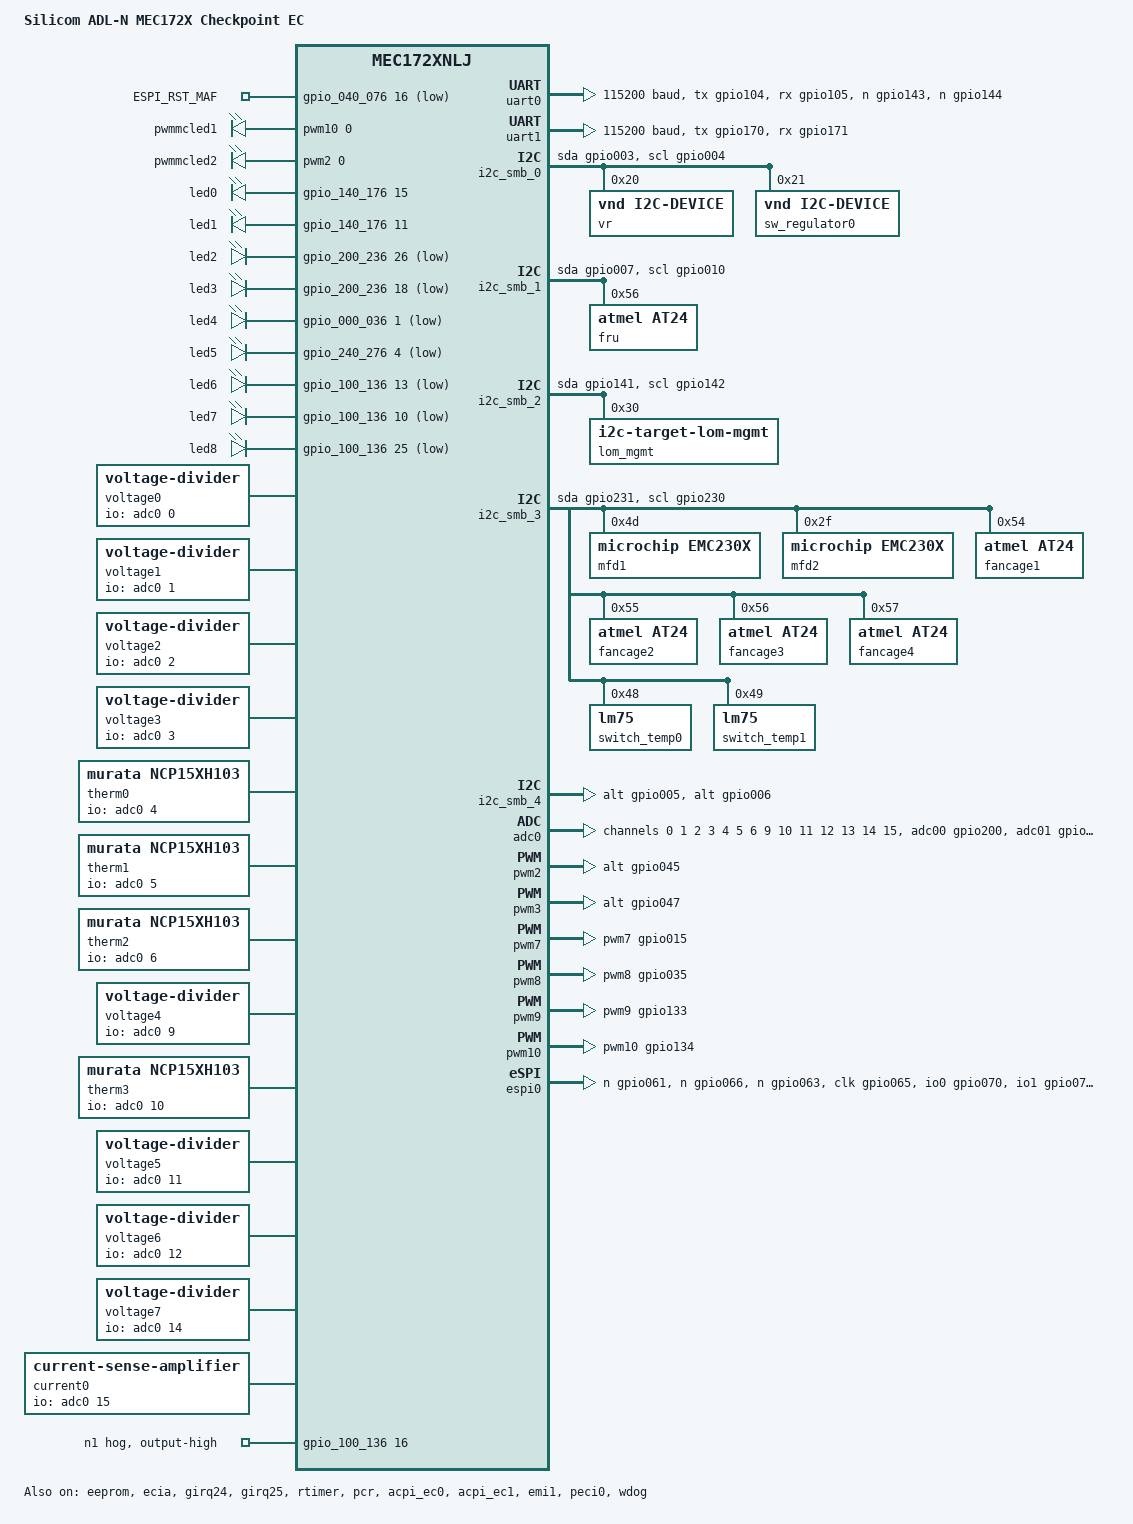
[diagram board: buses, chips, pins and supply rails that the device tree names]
/*
 * Copyright (c) 2025, Silicom Connectivity Solutions
 *
 * SPDX-License-Identifier: Apache-2.0
 */

/dts-v1/;

#include <microchip/mec172xnlj.dtsi>
#include <microchip/mec172x/mec172xnsz-pinctrl.dtsi>
#include <microchip/mec172x/mec172xnlj-pinctrl.dtsi>
#include <zephyr/dt-bindings/pwm/pwm.h>
#include <zephyr/dt-bindings/led/led.h>

/ {
	model = "Silicom ADL-N MEC172X Checkpoint EC";
	compatible = "microchip,mec172x_adl_n_cp", "microchip,mec172xnlj";

	chosen {
		zephyr,sram = &sram0;
		zephyr,flash = &flash0;
		zephyr,console = &uart1;
	};

	aliases {
		i2c0 = &i2c_smb_0;
		i2c-0 = &i2c_smb_0;
		i2c3 = &i2c_smb_1;
		i2c11 = &i2c_smb_2;
		peci-0 = &peci0;
		led0 = &pwmmcled1;
		led1 = &pwmmcled2;
		eeprom0 = &eeprom;
		fan0 = &fan1_1;
		fan1 = &fan1_2;
		fan2 = &fan1_3;
		fan3 = &fan1_4;
		fan4 = &fan2_1;
		fan5 = &fan2_2;
		fan6 = &fan2_3;
		fan7 = &fan2_4;
		gpioled0 = &amber_mid;
		gpioled1 = &amber_bot;
		gpioled2 = &pwr_led_green;
		gpioled3 = &front_location;
	};

	gpio_keys {
		compatible = "gpio-keys";

		/* make a DT entry for the ESPI_RESET# input */
		espi_rst_maf: espi-rst {
			gpios = <&gpio_040_076 16 GPIO_ACTIVE_LOW>;
			label = "ESPI_RST_MAF";
		};
	};

	pwm_mc_leds: pwm_mc_leds {
		compatible = "pwm-leds-multicolor";

		pwmmcled1: pwmmcled-1 {
			pwms = <&pwm10 0 PWM_MSEC(5) PWM_POLARITY_INVERTED>,
		       	       <&pwm7  0 PWM_MSEC(5) PWM_POLARITY_INVERTED>,
		       	       <&pwm8  0 PWM_MSEC(5) PWM_POLARITY_INVERTED>;

			color-mapping = <LED_COLOR_ID_RED>,
					<LED_COLOR_ID_GREEN>,
					<LED_COLOR_ID_BLUE>;
		};
		pwmmcled2: pwmmcled-2 {
			pwms = <&pwm2 0 PWM_MSEC(5) PWM_POLARITY_INVERTED>,
			       <&pwm9 0 PWM_MSEC(5) PWM_POLARITY_INVERTED>,
			       <&pwm3 0 PWM_MSEC(5) PWM_POLARITY_INVERTED>;

			color-mapping = <LED_COLOR_ID_RED>,
					<LED_COLOR_ID_GREEN>,
					<LED_COLOR_ID_BLUE>;
		};
	};

	amber_mid: led_0 {
		compatible = "gpio-leds";
		/* GPIO 157 */
		led0 {
			gpios = <&gpio_140_176 15 GPIO_ACTIVE_HIGH>;
		};
	};
	amber_bot: led_1 {
		compatible = "gpio-leds";
		/* GPIO 153 */
		led1 {
			gpios = <&gpio_140_176 11 GPIO_ACTIVE_HIGH>;
		};
	};
	fan1led: led_2 {
		compatible = "gpio-leds";
		/* GPIO 232 */
		led2 {
			gpios = <&gpio_200_236 26 GPIO_ACTIVE_LOW>;
		};
	};
	fan2led: led_3 {
		compatible = "gpio-leds";
		/* GPIO 222 */
		led3 {	
			gpios = <&gpio_200_236 18 GPIO_ACTIVE_LOW>;
		};
	};
	fan3led: led_4 {
		compatible = "gpio-leds";
		/* GPIO 1 */
		led4 {
			gpios = <&gpio_000_036 1 GPIO_ACTIVE_LOW>;
		};
	};
	fan4led: led_5 {
		compatible = "gpio-leds";
		/* GPIO 244 */
		led5 {
			gpios = <&gpio_240_276 4 GPIO_ACTIVE_LOW>;
		};
	};
	pwr_led_green: led_6 {
		compatible = "gpio-leds";
		/* GPIO 115 */
		led6 {
			gpios = <&gpio_100_136 13 GPIO_ACTIVE_LOW>;
		};
	};
	fan_fail: led_7 {
		compatible = "gpio-leds";
		/* GPIO 112 */
		led7 {
			gpios = <&gpio_100_136 10 GPIO_ACTIVE_LOW>;
		};
	};
	front_location: led_8 {
		compatible = "gpio-leds";
		/* GPIO 131 */
		led8: front_location {
			gpios = <&gpio_100_136 25 GPIO_ACTIVE_LOW>;
		};
	};
//	alert: led_9 {
//		compatible = "gpio-leds";
//		/* GPIO 174 */
//		led9: alert {
//			gpios = <&gpio_140_176 28 GPIO_ACTIVE_LOW>;
//		};
//	};

	voltage0: voltage12v {
		compatible = "voltage-divider";
		status = "okay";
		io-channels = <&adc0 0>;
		io-channel-names = "12V";
		output-ohms = <3300>;
		full-ohms = <(10000+3300)>; 
	};
	voltage1: voltage5v {
		compatible = "voltage-divider";
		status = "okay";
		io-channels = <&adc0 1>;
		io-channel-names = "5V";
		output-ohms = <10000>;
		full-ohms = <(10000+10000)>;
	};
	voltage2: voltage3v3alwon {
		compatible = "voltage-divider";
		status = "okay";
		io-channels = <&adc0 2>;
		io-channel-names = "3.3VAlwaysOn";
		output-ohms = <1>;
		full-ohms = <1>;
	};
	voltage3: voltage1v8alwon {
		compatible = "voltage-divider";
		status = "okay";
		io-channels = <&adc0 3>;
		io-channel-names = "1.8VAlwaysOn";
		output-ohms = <1>;
		full-ohms = <1>;
	};
	therm0: thermistor-0 {
		compatible = "murata,ncp15xh103";
		io-channels = <&adc0 4>;
		pullup-uv = <3300000>;
		pullup-ohm = <3300>;
		pulldown-ohm = <0>;
		friendly-name = "Ambient";
	};
	therm1: thermistor-1 {
		compatible = "murata,ncp15xh103";
		io-channels = <&adc0 5>;
		pullup-uv = <3300000>;
		pullup-ohm = <3300>;
		pulldown-ohm = <0>;
		friendly-name = "Core VR";
	};
	therm2: thermistor-2 {
		compatible = "murata,ncp15xh103";
		io-channels = <&adc0 6>;
		pullup-uv = <3300000>;
		pullup-ohm = <3300>;
		pulldown-ohm = <0>;
		friendly-name = "DDR";
	};
	voltage4: voltage1v8 {
		compatible = "voltage-divider";
		status = "okay";
		io-channels = <&adc0 9>;
		io-channel-names = "1.8V";
		output-ohms = <1>;
		full-ohms = <1>;
	};
	therm3: thermistor-3 {
		compatible = "murata,ncp15xh103";
		io-channels = <&adc0 10>;
		pullup-uv = <3300000>;
		pullup-ohm = <3300>;
		pulldown-ohm = <0>;
		friendly-name = "CPU";
	};
	voltage5: voltagevccinaux {
		compatible = "voltage-divider";
		status = "okay";
		io-channels = <&adc0 11>;
		io-channel-names = "VCCinAux";
		output-ohms = <1>;
		full-ohms = <1>;
	};
	voltage6: voltage1v064vdd2 {
		compatible = "voltage-divider";
		status = "okay";
		io-channels = <&adc0 12>;
		io-channel-names = "1.06V_VDD2";
		output-ohms = <1>;
		full-ohms = <1>;
	};
	voltage7: voltage0vttsodimm {
		compatible = "voltage-divider";
		status = "okay";
		io-channels = <&adc0 14>;
		io-channel-names = "VTT_SODIMM";
		output-ohms = <1>;
		full-ohms = <1>;
	};
	current0: voutpwrmon {
		compatible = "current-sense-amplifier";
		status = "okay";
		io-channels = <&adc0 15>;
		io-channel-names = "VOUT_PWRMON";
		sense-resistor-micro-ohms = <3>;
		sense-gain-mult = <50>;
	};

	smbus1: smbus1 {
		compatible = "microchip,xec-smbus";
		i2c = <&i2c_smb_3>;
		#address-cells = <1>;
		#size-cells = <0>;

		mfd3: mpq8788@31 {
			compatible = "mps,mpq8785";
			reg = <0x31>;

			mfd3_vin: mpq8788_31vin {
				compatible = "mps,mpq8785-vin";
				page = <0>;
				coefficients = <4 0 1>;
			};
			mfd3_vout: mpq8788_31vout {
				compatible = "mps,mpq8785-vout";
				page = <0>;
				coefficients = <512 0 0>;
			};
			mfd3_iout: mpq8788_31iout {
				compatible = "mps,mpq8785-iout";
				page = <0>;
				coefficients = <16 0 0>;
			};
			mfd3_temp: mpq8788_31temp {
				compatible = "mps,mpq8785-temp";
				page = <0>;
				coefficients = <1 0 0>;
			};
		};
		mfd4: mpq8788@32 {
			compatible = "mps,mpq8785";
			reg = <0x32>;

			mfd4_vin: mpq8788_32vin {
				compatible = "mps,mpq8785-vin";
				page = <0>;
				coefficients = <4 0 1>;
			};
			mfd4_vout: mpq8788_32vout {
				compatible = "mps,mpq8785-vout";
				page = <0>;
				coefficients = <512 0 0>;
			};
			mfd4_iout: mpq8788_32iout {
				compatible = "mps,mpq8785-iout";
				page = <0>;
				coefficients = <16 0 0>;
			};
			mfd4_temp: mpq8788_32temp {
				compatible = "mps,mpq8785-temp";
				page = <0>;
				coefficients = <1 0 0>;
			};
		};
		mfd5: mpq8790@30 {
			compatible = "mps,mpq8785";
			reg = <0x30>;

			mfd5_vin: mpq8790vin {
				compatible = "mps,mpq8785-vin";
				page = <0>;
				coefficients = <4 0 1>;
			};
			mfd5_vout: mpq8790vout {
				compatible = "mps,mpq8785-vout";
				page = <0>;
				coefficients = <512 0 0>;
			};
			mfd5_iout: mpq8790iout {
				compatible = "mps,mpq8785-iout";
				page = <0>;
				coefficients = <16 0 0>;
			};
			mfd5_temp: mpq8790temp {
				compatible = "mps,mpq8785-temp";
				page = <0>;
				coefficients = <1 0 0>;
			};
		};
		mfd6: crps@58 {
			compatible = "ocp,crps";
			reg = <0x58>;

			mfd6_temp_amb: crps58ambient {
				compatible = "ocp,crps-temp";
				page = <0>;
				temp-reg = <141>;
			};
			mfd6_temp_hot: crps58hot {
				compatible = "ocp,crps-temp";
				page = <0>;
				temp-reg = <142>;
			};
			mfd6_iout: crps58iout {
				compatible = "ocp,crps-iout";
				page = <0>;
			};
		};
		mfd7: mp2928@20 {
			compatible = "mps,mp2928";
			reg = <0x20>;

			mfd7_temp: mps2928_temp {
				compatible = "mps,mp2928-temp";
				page = <0>;
			};
			mfd7_vout: mps2928_vout_r0 {
				compatible = "mps,mp2928-vout";
				page = <0>;
			};
			mfd8_vout: mps2928_vout_r1 {
				compatible = "mps,mp2928-vout";
				page = <1>;
			};
			mfd9_vout: mps2928_vout_r2 {
				compatible = "mps,mp2928-vout";
				page = <2>;
			};
		};
		mfd8: crps@59 {
			compatible = "ocp,crps";
			reg = <0x59>;

			mfd8_temp_amb: crps59ambient {
				compatible = "ocp,crps-temp";
				page = <0>;
				temp-reg = <141>;
			};
			mfd8_temp_hot: crps59hot {
				compatible = "ocp,crps-temp";
				page = <0>;
				temp-reg = <142>;
			};
			mfd8_iout: crps59iout {
				compatible = "ocp,crps-iout";
				page = <0>;
			};
		};
	};

	zephyr,user {
//		signal-gpios = <&gpio_100_136 1 GPIO_ACTIVE_LOW>;
		pinctrl-0 = <&gpio101 &gpio102 &gpio172 &gpio173 &gpio_uc_2>;
		pinctrl-names = "default";
	};
};

&gpio_100_136 {
	n1 {
		gpio-hog;
		gpios = <16 GPIO_ACTIVE_HIGH>;
		output-high;
	};
};
//&gpio_140_176 {
//	pinctrl-0 = <&gpio174>;
//	pinctrl-names = "default";
//	
//	hogs {
//		gpio-hog;
//		gpios = <28 GPIO_ACTIVE_HIGH>;
//		output-low;
//	};
//		
//};

//&bbled0 {
//	compatible = "microchip,xec-bbled";
//	status = "okay";
//	pinctrl-0 = <&led0_gpio156>;
//	pinctrl-names = "default";
//};

//&bbled1 {
//	compatible = "microchip,xec-bbled";
//	status = "okay";
//	pinctrl-0 = <&led1_gpio157>;
//	pinctrl-names = "default";
//};

//&bbled2 {
//	compatible = "microchip,xec-bbled";
//	status = "okay";
//	pinctrl-0 = <&led2_gpio153>;
//	pinctrl-names = "default";
//};

&cpu0 {
	clock-frequency = <96000000>;
	status = "okay";
};

&uart0 {
	status = "okay";
	current-speed = <115200>;
	pinctrl-0 = <&uart0_tx_gpio104 &uart0_rx_gpio105
		     &uart0_cts_n_gpio143 &uart0_rts_n_gpio144>;
	pinctrl-names = "default";
};

&uart1 {
	status = "okay";
	current-speed = <115200>;
	pinctrl-0 = <&uart1_tx_gpio170 &uart1_rx_gpio171>;
	pinctrl-names = "default";
};

&eeprom {
	status = "okay";

	pinctrl-0 = <&eeprom_cs_gpio116
		     &eeprom_clk_gpio117
		     &eeprom_mosi_gpio074
		     &eeprom_miso_gpio075>;
	pinctrl-names = "default";
};

&i2c_smb_0 {
	status = "okay";
	port_sel = <0>;

	pinctrl-0 = <&i2c00_sda_gpio003
		     &i2c00_scl_gpio004>;
	pinctrl-names = "default";

	vr: vr@20 {
		compatible = "vnd,i2c-device";
		status = "okay";
		reg = <0x20>;
	};

	sw_regulator0: swr@21 {
		compatible = "vnd,i2c-device";
		status = "okay";
		reg = <0x21>;
	};

};

&i2c_smb_1 {
	status = "okay";
	port_sel = <3>;

	pinctrl-0 = <&i2c03_sda_gpio007
                     &i2c03_scl_gpio010>;
	pinctrl-names = "default";

	fru: dev@56 {
		compatible = "atmel,at24";
		status = "okay";
		reg = <0x56>;
		size = <512>;
		address-width = <8>;
		timeout = <25>;
		pagesize = <16>;
	};

	spd: dev@54 {
		compatible = "atmel,at24";
		status = "disabled";
		reg = <0x54>;
		size = <256>;
		address-width = <8>;
		timeout = <25>;
		pagesize = <16>;
	};
};

&i2c_smb_2 {
	status = "ok";
	port_sel = <5>;
	
	pinctrl-0 = <&i2c05_sda_gpio141 &i2c05_scl_gpio142>;
	pinctrl-names = "default";

	lom_mgmt: lom_mgmt@30 {
		compatible = "i2c-target-lom-mgmt";
		status = "okay";
		reg = <0x30>;
		//size = <2048>;
	};
};

&i2c_smb_3 {
	status = "okay";
	port_sel = <8>;

	pinctrl-0 = <&i2c08_sda_gpio231 &i2c08_scl_gpio230>;
	pinctrl-names = "default";

	mfd1: dev@4d {
		compatible = "microchip,emc230x";
		status = "okay";
		reg = <0x4d>;

		fanctrl1: fancontroller {
			compatible = "microchip,emc230x-pwm";
			status = "okay";
			#pwm-cells = <2>;

			fan1_1: FAN1 {
				status = "okay";
				pwms = <&fanctrl1 0 26000>;
				tach = <&fan_speed1>;
				edges = <5>;
				initial = <50>;
			};
			fan1_2: FAN2 {
				status = "okay";
				pwms = <&fanctrl1 1 26000>;
				tach = <&fan_speed2>;
				edges = <5>;
				initial = <50>;
			};
			fan1_3: FAN3 {
				status = "okay";
				pwms = <&fanctrl1 2 26000>;
				tach = <&fan_speed3>;
				edges = <5>;
				initial = <50>;
			};
			fan1_4: FAN4 {
				status = "okay";
				pwms = <&fanctrl1 3 26000>;
				tach = <&fan_speed4>;
				edges = <5>;
				initial = <50>;
			};
		};
		fan_speed1: fanspeed1 {
			compatible = "microchip,emc230x-fan-speed";
			status = "okay";
			channel = <0>;
		};
		fan_speed2: fanspeed2 {
			compatible = "microchip,emc230x-fan-speed";
			status = "okay";
			channel = <1>;
		};
		fan_speed3: fanspeed3 {
			compatible = "microchip,emc230x-fan-speed";
			status = "okay";
			channel = <2>;
		};
		fan_speed4: fanspeed4 {
			compatible = "microchip,emc230x-fan-speed";
			status = "okay";
			channel = <3>;
		};
	};

	mfd2: dev@2f {
		compatible = "microchip,emc230x";
		status = "okay";
		reg = <0x2f>;

		fanctrl2: fancontroller {
			compatible = "microchip,emc230x-pwm";
			status = "okay";
			#pwm-cells = <2>;

			fan2_1: FAN1 {
				pwms = <&fanctrl2 0 26000>;
				tach = <&fan_speed5>;
				edges = <5>;
				initial = <50>;
			};
			fan2_2: FAN2 {
				pwms = <&fanctrl2 1 26000>;
				tach = <&fan_speed6>;
				edges = <5>;
				initial = <50>;
			};
			fan2_3: FAN3 {
				pwms = <&fanctrl2 2 26000>;
				tach = <&fan_speed7>;
				edges = <5>;
				initial = <50>;
			};
			fan2_4: FAN4 {
				pwms = <&fanctrl2 3 26000>;
				tach = <&fan_speed8>;
				edges = <5>;
				initial = <50>;
			};
		};
		fan_speed5: fanspeed5 {
			compatible = "microchip,emc230x-fan-speed";
			status = "okay";
			channel = <0>;
		};
		fan_speed6: fanspeed6 {
			compatible = "microchip,emc230x-fan-speed";
			status = "okay";
			channel = <1>;
		};
		fan_speed7: fanspeed7 {
			compatible = "microchip,emc230x-fan-speed";
			status = "okay";
			channel = <2>;
		};
		fan_speed8: fanspeed8 {
			compatible = "microchip,emc230x-fan-speed";
			status = "okay";
			channel = <3>;
		};
	};

	fancage1: dev@54 {
		compatible = "atmel,at24";
		status = "okay";
		reg = <0x54>;
		size = <256>;
		address-width = <8>;
		timeout = <25>;
		pagesize = <16>;
	};

	fancage2: dev@55 {
		compatible = "atmel,at24";
		status = "okay";
		reg = <0x55>;
		size = <256>;
		address-width = <8>;
		timeout = <25>;
		pagesize = <16>;
	};

	fancage3: dev@56 {
		compatible = "atmel,at24";
		status = "okay";
		reg = <0x56>;
		size = <256>;
		address-width = <8>;
		timeout = <25>;
		pagesize = <16>;
	};

	fancage4: dev@57 {
		compatible = "atmel,at24";
		status = "okay";
		reg = <0x57>;
		size = <256>;
		address-width = <8>;
		timeout = <25>;
		pagesize = <16>;
	};

	switch_temp0: dev@48 {
		compatible = "lm75";
		status = "okay";
		reg = <0x48>;
	};

	switch_temp1: dev@49 {
		compatible = "lm75";
		status = "okay";
		reg = <0x49>;
	};

};

&i2c_smb_4 {
	status = "okay";
	port_sel = <11>;

	pinctrl-0 = <&i2c11_sda_alt_gpio005 &i2c11_scl_alt_gpio006>;
	pinctrl-names = "default";
};

&i2c03_sda_gpio007 {
	drive-open-drain;
	output-high;
};

&i2c03_scl_gpio010 {
	drive-open-drain;
	output-high;
};

&i2c05_sda_gpio141 {
	drive-open-drain;
	output-high;
};

&i2c05_scl_gpio142 {
	drive-open-drain;
	output-high;
};

&adc0 {
	status = "okay";
	pinctrl-0 = <&adc00_gpio200 &adc01_gpio201
		     &adc02_gpio202 &adc03_gpio203
		     &adc04_gpio204 &adc05_gpio205
		     &adc06_gpio206
		     &adc09_gpio211 &adc10_gpio212
		     &adc11_gpio213 &adc12_gpio214
		     &adc13_gpio215 &adc14_gpio216
		     &adc15_gpio217>;
	pinctrl-names = "default";

	#address-cells = <1>;
	#size-cells = <0>;

	channel@0 {
		reg = <0>;
		zephyr,gain = "ADC_GAIN_1";
		zephyr,reference = "ADC_REF_INTERNAL";
		zephyr,resolution = <10>;
		zephyr,vref-mv = <3300>;
		zephyr,acquisition-time = <ADC_ACQ_TIME_DEFAULT>;
	};

	channel@1 {
		reg = <1>;
		zephyr,gain = "ADC_GAIN_1";
		zephyr,reference = "ADC_REF_INTERNAL";
		zephyr,resolution = <10>;
		zephyr,vref-mv = <3300>;
		zephyr,acquisition-time = <ADC_ACQ_TIME_DEFAULT>;
	};

	channel@2 {
		reg = <2>;
		zephyr,gain = "ADC_GAIN_1";
		zephyr,reference = "ADC_REF_INTERNAL";
		zephyr,resolution = <10>;
		zephyr,vref-mv = <3300>;
		zephyr,acquisition-time = <ADC_ACQ_TIME_DEFAULT>;
	};

	channel@3 {
		reg = <3>;
		zephyr,gain = "ADC_GAIN_1";
		zephyr,reference = "ADC_REF_INTERNAL";
		zephyr,resolution = <10>;
		zephyr,vref-mv = <3300>;
		zephyr,acquisition-time = <ADC_ACQ_TIME_DEFAULT>;
	};

	channel@4 {
		reg = <4>;
		zephyr,gain = "ADC_GAIN_1";
		zephyr,reference = "ADC_REF_INTERNAL";
		zephyr,resolution = <10>;
		zephyr,acquisition-time = <ADC_ACQ_TIME_DEFAULT>;
	};

	channel@5 {
		reg = <5>;
		zephyr,gain = "ADC_GAIN_1";
		zephyr,reference = "ADC_REF_INTERNAL";
		zephyr,resolution = <10>;
		zephyr,acquisition-time = <ADC_ACQ_TIME_DEFAULT>;
	};

	channel@6 {
		reg = <6>;
		zephyr,gain = "ADC_GAIN_1";
		zephyr,reference = "ADC_REF_INTERNAL";
		zephyr,resolution = <10>;
		zephyr,acquisition-time = <ADC_ACQ_TIME_DEFAULT>;
	};

	channel@9 {
		reg = <9>;
		zephyr,gain = "ADC_GAIN_1";
		zephyr,reference = "ADC_REF_INTERNAL";
		zephyr,resolution = <10>;
		zephyr,vref-mv = <3300>;
		zephyr,acquisition-time = <ADC_ACQ_TIME_DEFAULT>;
	};

	channel@a {
		reg = <10>;
		zephyr,gain = "ADC_GAIN_1";
		zephyr,reference = "ADC_REF_INTERNAL";
		zephyr,resolution = <10>;
		zephyr,acquisition-time = <ADC_ACQ_TIME_DEFAULT>;
	};

	channel@b {
		reg = <11>;
		zephyr,gain = "ADC_GAIN_1";
		zephyr,reference = "ADC_REF_INTERNAL";
		zephyr,resolution = <10>;
		zephyr,vref-mv = <3300>;
		zephyr,acquisition-time = <ADC_ACQ_TIME_DEFAULT>;
	};

	channel@c {
		reg = <12>;
		zephyr,gain = "ADC_GAIN_1";
		zephyr,reference = "ADC_REF_INTERNAL";
		zephyr,resolution = <10>;
		zephyr,vref-mv = <3300>;
		zephyr,acquisition-time = <ADC_ACQ_TIME_DEFAULT>;
	};

	channel@d {
		reg = <13>;
		zephyr,gain = "ADC_GAIN_1";
		zephyr,reference = "ADC_REF_INTERNAL";
		zephyr,resolution = <10>;
		zephyr,vref-mv = <3300>;
		zephyr,acquisition-time = <ADC_ACQ_TIME_DEFAULT>;
	};

	channel@e {
		reg = <14>;
		zephyr,gain = "ADC_GAIN_1";
		zephyr,reference = "ADC_REF_INTERNAL";
		zephyr,resolution = <10>;
		zephyr,vref-mv = <3300>;
		zephyr,acquisition-time = <ADC_ACQ_TIME_DEFAULT>;
	};

	channel@f {
		reg = <15>;
		zephyr,gain = "ADC_GAIN_1";
		zephyr,reference = "ADC_REF_INTERNAL";
		zephyr,resolution = <10>;
		zephyr,vref-mv = <3300>;
		zephyr,acquisition-time = <ADC_ACQ_TIME_DEFAULT>;
	};

};

&pwm2 {
	status = "okay";
	pinctrl-0 = <&pwm2_alt_gpio045>;
	pinctrl-names = "default";
};

&pwm3 {
	status = "okay";
	pinctrl-0 = <&pwm3_alt_gpio047>;
	pinctrl-names = "default";
};

&pwm7 {
	status = "okay";
	pinctrl-0 = <&pwm7_gpio015>;
	pinctrl-names = "default";
};

&pwm8 {
	status = "okay";
	pinctrl-0 = <&pwm8_gpio035>;
	pinctrl-names = "default";
};

&pwm9 {
	status = "okay";
	pinctrl-0 = <&pwm9_gpio133>;
	pinctrl-names = "default";
};

&pwm10 {
	status = "okay";
	pinctrl-0 = <&pwm10_gpio134>;
	pinctrl-names = "default";
};

/* Initialize ECIA. Does not initialize child devices */
&ecia {
	status = "okay";
};

/* Enable aggregated GIRQ24 and GIRQ25 for eSPI virtual wires interrupts */
&girq24 {
	status = "okay";
};

&girq25 {
	status = "okay";
};

&rtimer {
	status = "okay";
};

&pcr {
	status = "okay";
};

&espi0 {
	status = "okay";
	pinctrl-0 = < &espi_reset_n_gpio061 &espi_cs_n_gpio066
		      &espi_alert_n_gpio063 &espi_clk_gpio065
		      &espi_io0_gpio070 &espi_io1_gpio071
		      &espi_io2_gpio072 &espi_io3_gpio073 >;
	pinctrl-names = "default";
};

&acpi_ec0 {
	status = "okay";
};

&acpi_ec1 {
	status = "okay";
};

&emi1 {
	status = "okay";
};

&peci0 {
	status = "okay";
	pinctrl-0 = <&peci_dat_gpio042>;
	pinctrl-names = "default";
};

&pinctrl {
	gpio101: gpio101 {
		pinmux = < MCHP_XEC_PINMUX(0101, MCHP_AF0) >;
		bias-disable;
	};
	gpio102: gpio102 {
		pinmux = < MCHP_XEC_PINMUX(0102, MCHP_AF0) >;
		bias-disable;
	};
	gpio172: gpio172 {
		pinmux = < MCHP_XEC_PINMUX(0172, MCHP_AF0) >;
		bias-disable;
	};
	gpio173: gpio173 {
		pinmux = < MCHP_XEC_PINMUX(0173, MCHP_AF0) >;
		bias-disable;
	};
	gpio174: gpio174 {
		pinmux = < MCHP_XEC_PINMUX(0174, MCHP_AF0) >;
		bias-disable;
	};
	gpio_uc_0: gpio112 {
		pinmux = < MCHP_XEC_PINMUX(112, MCHP_GPIO) >;
		bias-pull-down;
	};
	gpio_uc_1: gpio113 {
		pinmux = < MCHP_XEC_PINMUX(113, MCHP_GPIO) >;
		bias-pull-down;
	};
	gpio_uc_2: gpio025 {
		pinmux = < MCHP_XEC_PINMUX(025, MCHP_GPIO) >;
		bias-pull-down;
	};
};

&wdog {
	status = "okay";
};	
